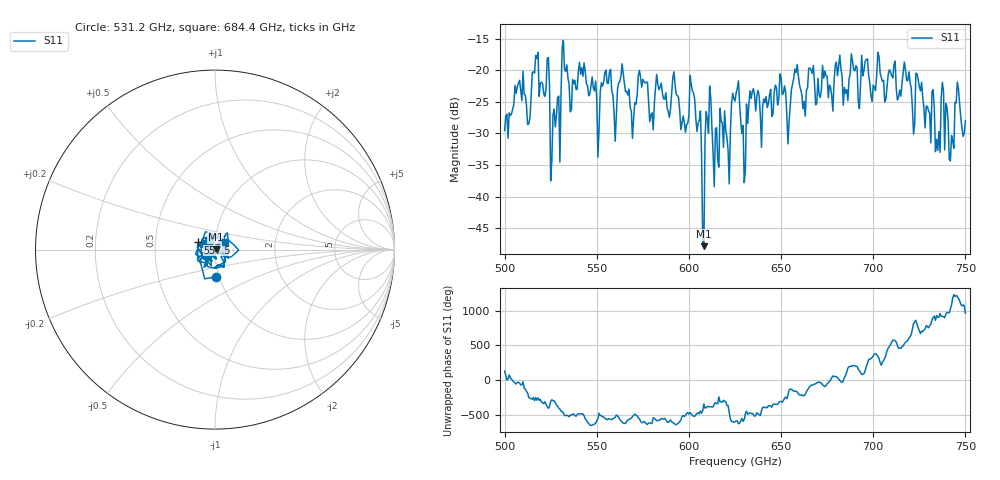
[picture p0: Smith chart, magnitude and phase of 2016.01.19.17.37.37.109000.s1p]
!Created with skrf (http://scikit-rf.org).
# GHz S RI R 50.0
!freq ReS11 ImS11
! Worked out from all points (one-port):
!   401 points, 500 GHz to 750 GHz, reference 50 ohm
!   lowest |S11| = -47.9 dB at 608.1 GHz (marker M1), VSWR 1.01, Z = 50.4 + j0.139 ohm
!   |S11| at or under -10 dB: start of sweep to end of sweep
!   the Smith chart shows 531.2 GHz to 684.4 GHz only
!   S11 on the Smith chart (normalised r, x): 531.2 GHz: 0.96, -0.30; 557.5 GHz: 0.83, +0.07; 684.4 GHz: 1.12, +0.10
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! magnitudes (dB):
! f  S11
! 500 GHz  -29.5
! 506.9 GHz  -22.6
! 513.1 GHz  -28.5
! 516.9 GHz  -17.7
! 523.1 GHz  -18.1
! 526.2 GHz  -27.0
! 531.2 GHz  -16.3
! 557.5 GHz  -19.8
! 562.5 GHz  -21.8
! 569.4 GHz  -30.8
! 573.8 GHz  -21.0
! 593.8 GHz  -24.0
! 601.9 GHz  -23.3
! 608.1 GHz  -47.9
! 610.6 GHz  -30.0
! 615 GHz  -29.1
! 625 GHz  -24.9
! 629.4 GHz  -28.7
! 634.4 GHz  -23.3
! 656.2 GHz  -22.1
! 684.4 GHz  -22.7
! 687.5 GHz  -20.6
! 718.8 GHz  -21.6
! 735 GHz  -32.7
! 738.1 GHz  -23.3
! 742.5 GHz  -30.3
! 745.6 GHz  -21.8
! 750 GHz  -28.0
